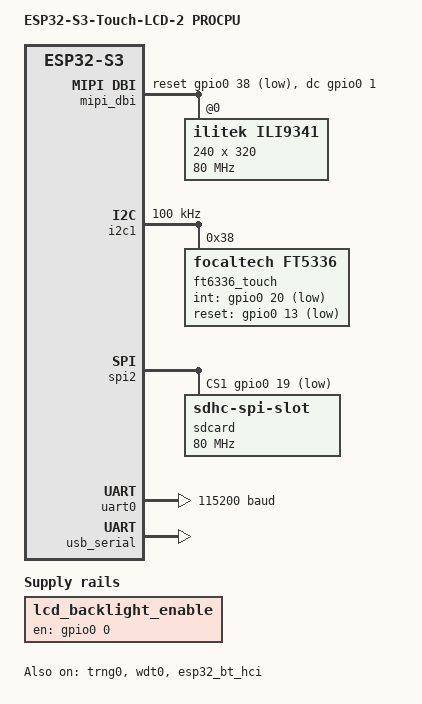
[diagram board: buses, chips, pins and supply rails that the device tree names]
/*
 * Copyright (c) 2025, Frank Li<lgl88911@163.com>
 * SPDX-License-Identifier: Apache-2.0
 */

/dts-v1/;
#include <espressif/esp32s3/esp32s3_wroom_n16r8.dtsi>
#include "esp32s3_touch_lcd_2-pinctrl.dtsi"
#include <zephyr/dt-bindings/display/panel.h>
#include <zephyr/dt-bindings/input/input-event-codes.h>
#include <zephyr/dt-bindings/pwm/pwm.h>
#include <espressif/partitions_0x0_amp_16M.dtsi>
#include <zephyr/dt-bindings/display/ili9xxx.h>

/ {
	model = "ESP32-S3-Touch-LCD-2 PROCPU";
	compatible = "halfcoder,esp32-s3-touch-lcd-2";

	chosen {
		zephyr,sram = &sram1;
		zephyr,console = &uart0;
		zephyr,shell-uart = &uart0;
		zephyr,flash = &flash0;
		zephyr,code-partition = &slot0_partition;
		zephyr,display = &ili9341;
		zephyr,bt-hci = &esp32_bt_hci;
		zephyr,touch = &ft6336_touch;
	};

	/* Buttons 
	buttons {
		compatible = "gpio-keys";
		button0: button_0 {
			gpios = <&gpio0 0 (GPIO_PULL_UP | GPIO_ACTIVE_LOW)>;
			label = "BOOT Button";
			zephyr,code = <INPUT_KEY_0>;
		};
	};*/

	/* Touch Controller */
	lvgl_pointer {
		compatible = "zephyr,lvgl-pointer-input";
		input = <&ft6336_touch>;
	};

	/* Regulators */
	lcd_backlight_en {
		compatible = "regulator-fixed";
		regulator-name = "lcd_backlight_enable";
		enable-gpios = <&gpio0 0 GPIO_ACTIVE_HIGH>;
		regulator-boot-on;
	};

	/* MIPI DBI */
	mipi_dbi{
		compatible = "zephyr,mipi-dbi-spi";
		spi-dev = <&spi2>;
		dc-gpios = <&gpio0 1 GPIO_ACTIVE_HIGH>;
		reset-gpios = <&gpio0 38 GPIO_ACTIVE_LOW>;
		write-only;
		#address-cells = <1>;
		#size-cells = <0>;

		ili9341: ili9341@0 {
			compatible = "ilitek,ili9341";
			mipi-max-frequency = <80000000>;
			reg = <0>;
			pixel-format = <ILI9XXX_PIXEL_FORMAT_RGB565>;
			rotation = <0>;
			width = <240>;
			height = <320>;
			display-inversion;
		};
	};
};



&flash0 {
	reg = <0x0 DT_SIZE_M(16)>;
};

&gpio0 {
	status = "okay";
};

&gpio1 {
	status = "okay";
};

&i2c1 {
	status ="okay";
	clock-frequency = <I2C_BITRATE_STANDARD>;
	pinctrl-0 = <&i2c1_default>;
	pinctrl-names = "default";

	ft6336_touch: ft5336@38 {
		status = "okay";
		compatible = "focaltech,ft5336";
		reg = <0x38>;
		int-gpios = <&gpio0 20 GPIO_ACTIVE_LOW>;
		reset-gpios = <&gpio0 13 GPIO_ACTIVE_LOW>;
		swapped-x-y;
	};
};

&spi2 {
	status = "okay";
	#address-cells = <1>;
	#size-cells = <0>;
	pinctrl-0 = <&spim2_default>;
	pinctrl-names = "default";
	cs-gpios = <&gpio0 2 GPIO_ACTIVE_LOW>,
				<&gpio0 19 GPIO_ACTIVE_LOW>;   // SDHC的CS引脚
/*
	cs-gpios = <&gpio0 39 GPIO_ACTIVE_LOW>,  // ST7789V的CS引脚
				<&gpio0 19 GPIO_ACTIVE_LOW>;   // SDHC的CS引脚
*/	
	
	
	sdcard: sdcard@1 {
		compatible = "zephyr,sdhc-spi-slot";
		reg = <1>;
		status = "okay";
		mmc {
			compatible = "zephyr,sdmmc-disk";
			disk-name = "SD";
			status = "okay";
		};
		spi-max-frequency = <80000000>;
	};

};

&trng0 {
	status = "okay";
};

&uart0 {
	status = "okay";
	current-speed = <115200>;
	pinctrl-0 = <&uart0_default>;
	pinctrl-names = "default";
};

&usb_serial {
	/* requires resoldering of resistors on the board */
	status = "okay";
};

&wdt0 {
	status = "okay";
};

&esp32_bt_hci {
	status = "okay";
};
